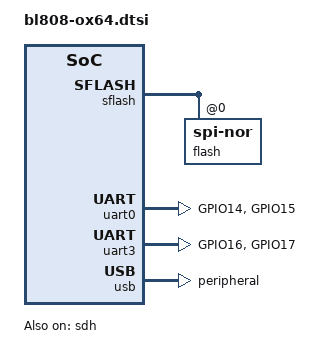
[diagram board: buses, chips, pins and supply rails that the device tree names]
// SPDX-License-Identifier: GPL-2.0+

&ext_xtal {
	clock-frequency = <40000000>;
};

&gpio {
	uart0_pins: uart0-pins {
		pins = "GPIO14", "GPIO15";
		function = "uart";
	};

	uart3_pins: uart3-pins {
		pins = "GPIO16", "GPIO17";
		function = "mm_uart";
	};
};

&sdh {
	status = "okay";
};

&sflash {
	#address-cells = <1>;
	#size-cells = <0>;
	status = "okay";

	flash@0 {
		compatible = "jedec,spi-nor";
		reg = <0>;
	};
};

&uart0 {
	pinctrl-0 = <&uart0_pins>;
	pinctrl-names = "default";
};

&uart3 {
	pinctrl-0 = <&uart3_pins>;
	pinctrl-names = "default";
};

&usb {
	dr_mode = "peripheral";
	status = "okay";
};
